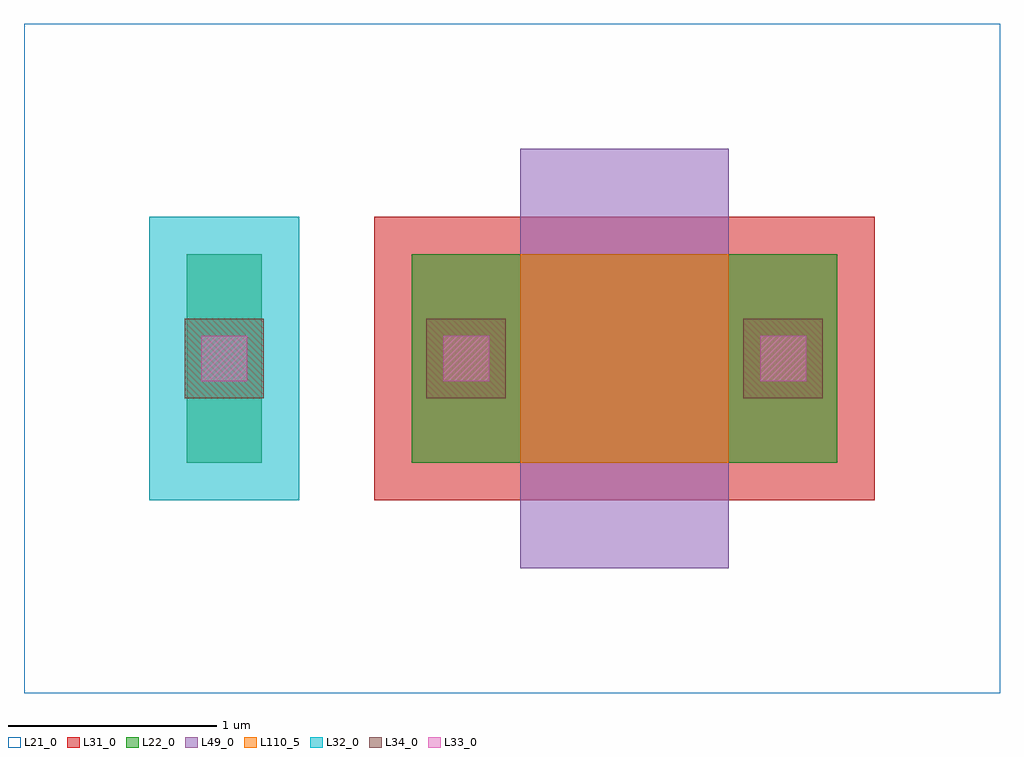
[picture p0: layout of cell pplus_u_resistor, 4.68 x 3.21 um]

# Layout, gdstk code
import gdstk
lib = gdstk.Library(unit=1e-6, precision=1e-09)
def R(c, l, rs):  # rectangles x0, y0, x1, y1
    for r in rs: c.add(gdstk.rectangle(r[:2], r[2:], *l))
L21_0 = (21, 0)
L22_0 = (22, 0)
L31_0 = (31, 0)
L32_0 = (32, 0)
L33_0 = (33, 0)
L34_0 = (34, 0)
L49_0 = (49, 0)
L110_5 = (110, 5)

pplus_u_resistor = lib.new_cell('pplus_u_resistor')
R(pplus_u_resistor, L21_0, [(-2.38,-1.105,2.3,2.105)])
R(pplus_u_resistor, L22_0, [(-1.6,0,-1.24,1), (-0.52,0,1.52,1)])
R(pplus_u_resistor, L31_0, [(-0.7,-0.18,1.7,1.18)])
R(pplus_u_resistor, L32_0, [(-1.78,-0.18,-1.06,1.18)])
R(pplus_u_resistor, L33_0, [(-1.53,0.39,-1.31,0.61), (-0.37,0.39,-0.15,0.61), (1.15,0.39,1.37,0.61)])
R(pplus_u_resistor, L34_0, [(-1.61,0.31,-1.23,0.69), (-0.45,0.31,-0.07,0.69), (1.07,0.31,1.45,0.69)])
R(pplus_u_resistor, L49_0, [(0,-0.505,1,1.505)])
R(pplus_u_resistor, L110_5, [(0,0,1,1)])

lib.write_gds('pplus_u_resistor.gds')
